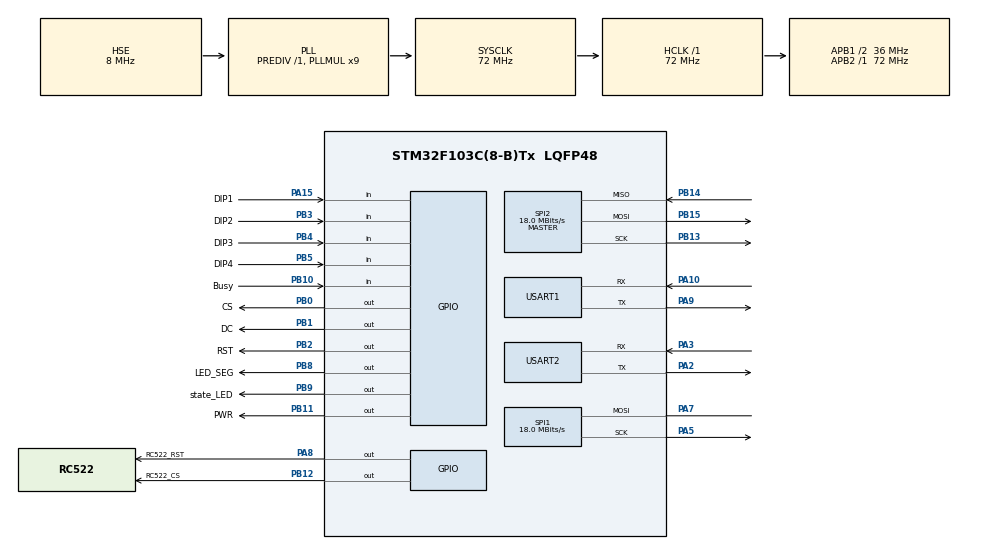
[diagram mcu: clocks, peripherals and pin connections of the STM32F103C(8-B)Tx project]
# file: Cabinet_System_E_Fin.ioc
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FREERTOS.Tasks01=TaskStateLED,-3,128,StartTaskStateLED,Default,NULL,Dynamic,NULL,NULL;TaskInit,2,512,StartTaskInit,Default,NULL,Dynamic,NULL,NULL;TaskWiFi,0,1024,StartTaskWiFi,Default,NULL,Dynamic,NULL,NULL;TaskUart2,-1,1024,StartTaskUart2,Default,NULL,Dynamic,NULL,NULL;TaskLightSingal,-2,128,StartTaskLightSingal,Default,NULL,Dynamic,NULL,NULL
FREERTOS.configTOTAL_HEAP_SIZE=15000
Mcu.Family=STM32F1
Mcu.Name=STM32F103C(8-B)Tx
Mcu.Package=LQFP48
NVIC.PriorityGroup=NVIC_PRIORITYGROUP_4
NVIC.TIM1_UP_IRQn=true\:15\:0\:false\:false\:true\:false\:false\:true\:true
NVIC.TimeBase=TIM1_UP_IRQn
NVIC.TimeBaseIP=TIM1
NVIC.USART1_IRQn=true\:5\:0\:false\:false\:true\:true\:true\:true\:true
NVIC.USART2_IRQn=true\:5\:0\:false\:false\:true\:true\:true\:true\:true
PA10.Mode=Asynchronous
PA10.Signal=USART1_RX
PA13.Mode=Serial_Wire
PA13.Signal=SYS_JTMS-SWDIO
PA14.Mode=Serial_Wire
PA14.Signal=SYS_JTCK-SWCLK
PA15.GPIO_Label=DIP1
PA15.Signal=GPIO_Input
PA2.Mode=Asynchronous
PA2.Signal=USART2_TX
PA3.Mode=Asynchronous
PA3.Signal=USART2_RX
PA5.Mode=Simplex_Bidirectional_Master
PA5.Signal=SPI1_SCK
PA7.Mode=Simplex_Bidirectional_Master
PA7.Signal=SPI1_MOSI
PA8.GPIO_Label=RC522_RST
PA8.PinState=GPIO_PIN_SET
PA8.Signal=GPIO_Output
PA9.Mode=Asynchronous
PA9.Signal=USART1_TX
PB0.GPIO_Label=CS
PB0.Signal=GPIO_Output
PB1.GPIO_Label=DC
PB1.Signal=GPIO_Output
PB10.GPIO_Label=Busy
PB10.Signal=GPIO_Input
PB11.GPIO_Label=PWR
PB11.Signal=GPIO_Output
PB12.GPIO_Label=RC522_CS
PB12.PinState=GPIO_PIN_SET
PB12.Signal=GPIO_Output
PB13.Mode=Full_Duplex_Master
PB13.Signal=SPI2_SCK
PB14.Mode=Full_Duplex_Master
PB14.Signal=SPI2_MISO
PB15.Mode=Full_Duplex_Master
PB15.Signal=SPI2_MOSI
PB2.GPIO_Label=RST
PB2.Signal=GPIO_Output
PB3.GPIO_Label=DIP2
PB3.Signal=GPIO_Input
PB4.GPIO_Label=DIP3
PB4.Signal=GPIO_Input
PB5.GPIO_Label=DIP4
PB5.Signal=GPIO_Input
PB8.GPIO_Label=LED_SEG
PB8.Signal=GPIO_Output
PB9.GPIO_Label=state_LED
PB9.Signal=GPIO_Output
PC14-OSC32_IN.Mode=LSE-External-Oscillator
PC14-OSC32_IN.Signal=RCC_OSC32_IN
PC15-OSC32_OUT.Mode=LSE-External-Oscillator
PC15-OSC32_OUT.Signal=RCC_OSC32_OUT
PD0-OSC_IN.Mode=HSE-External-Oscillator
PD0-OSC_IN.Signal=RCC_OSC_IN
PD1-OSC_OUT.Mode=HSE-External-Oscillator
PD1-OSC_OUT.Signal=RCC_OSC_OUT
ProjectManager.HeapSize=0x200
ProjectManager.StackSize=0x400
ProjectManager.TargetToolchain=MDK-ARM V5
RCC.AHBFreq_Value=72000000
RCC.APB1CLKDivider=RCC_HCLK_DIV2
RCC.APB1Freq_Value=36000000
RCC.APB1TimFreq_Value=72000000
RCC.APB2Freq_Value=72000000
RCC.APB2TimFreq_Value=72000000
RCC.HCLKFreq_Value=72000000
RCC.PLLMUL=RCC_PLL_MUL9
RCC.PLLSourceVirtual=RCC_PLLSOURCE_HSE
RCC.SYSCLKFreq_VALUE=72000000
RCC.SYSCLKSource=RCC_SYSCLKSOURCE_PLLCLK
RCC.USBFreq_Value=72000000
SPI1.BaudRatePrescaler=SPI_BAUDRATEPRESCALER_4
SPI1.CalculateBaudRate=18.0 MBits/s
SPI1.Direction=SPI_DIRECTION_1LINE
SPI1.Mode=SPI_MODE_MASTER
SPI1.VirtualType=VM_MASTER
SPI2.CalculateBaudRate=18.0 MBits/s
SPI2.Direction=SPI_DIRECTION_2LINES
SPI2.Mode=SPI_MODE_MASTER
SPI2.VirtualType=VM_MASTER
USART1.VirtualMode=VM_ASYNC
USART2.VirtualMode=VM_ASYNC
VP_FREERTOS_VS_CMSIS_V1.Mode=CMSIS_V1
VP_SYS_VS_tim1.Mode=TIM1
board=custom

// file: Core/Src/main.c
/* USER CODE BEGIN Header */
/**
  ******************************************************************************
  * @file           : main.c
  * @brief          : Main program body
  ******************************************************************************
  * @attention
  *
  * Copyright (c) 2024 STMicroelectronics.
  * All rights reserved.
  *
  * This software is licensed under terms that can be found in the LICENSE file
  * in the root directory of this software component.
  * If no LICENSE file comes with this software, it is provided AS-IS.
  *
  ******************************************************************************
  */
/* USER CODE END Header */
#include "main.h"
#include "cmsis_os.h"
#include "spi.h"
#include "usart.h"
#include "gpio.h"

void SystemClock_Config(void);
void MX_FREERTOS_Init(void);

int main(void)
{

  /* MCU Configuration--------------------------------------------------------*/

  /* Reset of all peripherals, Initializes the Flash interface and the Systick. */
  HAL_Init();

  /* Configure the system clock */
  SystemClock_Config();

  /* Initialize all configured peripherals */
  MX_GPIO_Init();
  MX_SPI1_Init();
  MX_SPI2_Init();
  MX_USART1_UART_Init();
  MX_USART2_UART_Init();

  /* Call init function for freertos objects (in freertos.c) */
  MX_FREERTOS_Init();

  /* Start scheduler */
  osKernelStart();
  /* We should never get here as control is now taken by the scheduler */
  /* Infinite loop */
  while (1)
  {

  }
}

void SystemClock_Config(void)
{
  RCC_OscInitTypeDef RCC_OscInitStruct = {0};
  RCC_ClkInitTypeDef RCC_ClkInitStruct = {0};

  /** Initializes the RCC Oscillators according to the specified parameters
  * in the RCC_OscInitTypeDef structure.
  */
  RCC_OscInitStruct.OscillatorType = RCC_OSCILLATORTYPE_HSE;
  RCC_OscInitStruct.HSEState = RCC_HSE_ON;
  RCC_OscInitStruct.HSEPredivValue = RCC_HSE_PREDIV_DIV1;
  RCC_OscInitStruct.HSIState = RCC_HSI_ON;
  RCC_OscInitStruct.PLL.PLLState = RCC_PLL_ON;
  RCC_OscInitStruct.PLL.PLLSource = RCC_PLLSOURCE_HSE;
  RCC_OscInitStruct.PLL.PLLMUL = RCC_PLL_MUL9;
  if (HAL_RCC_OscConfig(&RCC_OscInitStruct) != HAL_OK)
  {
    Error_Handler();
  }

  /** Initializes the CPU, AHB and APB buses clocks
  */
  RCC_ClkInitStruct.ClockType = RCC_CLOCKTYPE_HCLK|RCC_CLOCKTYPE_SYSCLK
                              |RCC_CLOCKTYPE_PCLK1|RCC_CLOCKTYPE_PCLK2;
  RCC_ClkInitStruct.SYSCLKSource = RCC_SYSCLKSOURCE_PLLCLK;
  RCC_ClkInitStruct.AHBCLKDivider = RCC_SYSCLK_DIV1;
  RCC_ClkInitStruct.APB1CLKDivider = RCC_HCLK_DIV2;
  RCC_ClkInitStruct.APB2CLKDivider = RCC_HCLK_DIV1;

  if (HAL_RCC_ClockConfig(&RCC_ClkInitStruct, FLASH_LATENCY_2) != HAL_OK)
  {
    Error_Handler();
  }
}

void HAL_TIM_PeriodElapsedCallback(TIM_HandleTypeDef *htim)
{
  if (htim->Instance == TIM1) {
    HAL_IncTick();
  }
}

void Error_Handler(void)
{
  __disable_irq();
  while (1)
  {
  }
}

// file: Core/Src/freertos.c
/* USER CODE BEGIN Header */
/**
  ******************************************************************************
  * File Name          : freertos.c
  * Description        : Code for freertos applications
  ******************************************************************************
  * @attention
  *
  * Copyright (c) 2024 STMicroelectronics.
  * All rights reserved.
  *
  * This software is licensed under terms that can be found in the LICENSE file
  * in the root directory of this software component.
  * If no LICENSE file comes with this software, it is provided AS-IS.
  *
  ******************************************************************************
  */
/* USER CODE END Header */

#include "FreeRTOS.h"
#include "task.h"
#include "main.h"
#include "cmsis_os.h"

/* USER CODE BEGIN Includes */
#include "main.h"
#include <stdio.h>
#include <stdlib.h>
#include "usart.h"
#include "gpio.h"
#include "string.h"

#include "epaper.h"
#include "RC522.h"

/* USER CODE END Includes */

/* USER CODE BEGIN Variables */

/*------------------------------------------------------------------------------
UART1 : ESP-12s

		ESP-12s SET :
			Baud -> 115200
			Wi-Fi mode -> station mode
			IP mode -> DHCP
			Server IP -> 140.130.4.49:8764 (gjt)
								-> 192.168.1.31:8124 (jian)

UART2 : Barcode

		Barcode SET :
			Baud -> 115200

------------------------------------------------------------------------------*/

uint8_t data1;
uint8_t buffer1[128];
int data_len1 = 0;

uint8_t data2;
uint8_t buffer2[128];
int data_len2 = 0;

char Data_Temp[20] = "\0";
int turn_LEN = 0;

char ESP_Temp[128] = "\0";
int ESP_LEN = 0;

/*==========Wi-Fi setting==========*/
char *ESP12_SetIPR = "AT+IPR=115200\r\n";
char *ESP12_CloseTCP = "AT+CIPCLOSE\r\n";
char *ESP12_CloseWiFi = "AT+CWQAP\r\n";
char *ESP12_WiFiMode = "AT+CWMODE=1\r\n";
char *ESP12_Connected = "AT+CWJAP=\"usb_lab_2.4G\",\"usblabwifi\"\r\n";
char *ESP12_Maskset = "AT+CIPSTA=\"192.168.1.22\",\"192.168.1.1\",\"255.255.255.0\"\r\n";
char *ESP12_DHCPSet = "AT+CWDHCP=1,1\r\n";
char *ESP12_TCPConnect = "AT+CIPSTART=\"TCP\",\"192.168.1.27\",8764\r\n";
char *ESP12_TransimitMode = "AT+CIPMODE=0\r\n";

char *ESP12_Transimit_first_connect = "AT+CIPSEND=9\r\n";
char *ESP12_Transimit_first_data = "02E";

char ESP12_marge_data[256];

/*------------------ Message for communication ------------------*/
/*------------------ Format : 03E:barcode:RFID- ------------------*/
char message_Start[5] = "03E:";
char message_conjunction[1] = ":";
char message_End[1] = "-";

char message_CRLF[2] = "\r\n";

/*==========Epaper==========*/
char epaper_dis[100];

/*==========Light singal==========*/
int Cabinet_light_flag = 0;

/*==========DIP SW setting==========*/
char DIP_message[7];

int DIP_Pin_state1 = 0;
int DIP_Pin_state2 = 0;
int DIP_Pin_state3 = 0;
int DIP_Pin_state4 = 0;

/* USER CODE END Variables */
osThreadId TaskStateLEDHandle;
osThreadId TaskInitHandle;
osThreadId TaskWiFiHandle;
osThreadId TaskUart2Handle;
osThreadId TaskLightSingalHandle;

/* USER CODE BEGIN FunctionPrototypes */
void DIP_read(void);
uint8_t readCard(uint8_t *readUid,void(*funCallBack)(void));
void epaper(char in_str[]);

/* USER CODE END FunctionPrototypes */

void StartTaskStateLED(void const * argument);
void StartTaskInit(void const * argument);
void StartTaskWiFi(void const * argument);
void StartTaskUart2(void const * argument);
void StartTaskLightSingal(void const * argument);

void MX_FREERTOS_Init(void); /* (MISRA C 2004 rule 8.1) */

/* GetIdleTaskMemory prototype (linked to static allocation support) */
void vApplicationGetIdleTaskMemory( StaticTask_t **ppxIdleTaskTCBBuffer, StackType_t **ppxIdleTaskStackBuffer, uint32_t *pulIdleTaskStackSize );

/* USER CODE BEGIN GET_IDLE_TASK_MEMORY */
static StaticTask_t xIdleTaskTCBBuffer;
static StackType_t xIdleStack[configMINIMAL_STACK_SIZE];

void vApplicationGetIdleTaskMemory( StaticTask_t **ppxIdleTaskTCBBuffer, StackType_t **ppxIdleTaskStackBuffer, uint32_t *pulIdleTaskStackSize )
{
  *ppxIdleTaskTCBBuffer = &xIdleTaskTCBBuffer;
  *ppxIdleTaskStackBuffer = &xIdleStack[0];
  *pulIdleTaskStackSize = configMINIMAL_STACK_SIZE;
  /* place for user code */
}
/* USER CODE END GET_IDLE_TASK_MEMORY */

void MX_FREERTOS_Init(void) {

  /* Create the thread(s) */
  /* definition and creation of TaskStateLED */
  osThreadDef(TaskStateLED, StartTaskStateLED, osPriorityIdle, 0, 128);
  TaskStateLEDHandle = osThreadCreate(osThread(TaskStateLED), NULL);

  /* definition and creation of TaskInit */
  osThreadDef(TaskInit, StartTaskInit, osPriorityHigh, 0, 512);
  TaskInitHandle = osThreadCreate(osThread(TaskInit), NULL);

  /* definition and creation of TaskWiFi */
  osThreadDef(TaskWiFi, StartTaskWiFi, osPriorityNormal, 0, 1024);
  TaskWiFiHandle = osThreadCreate(osThread(TaskWiFi), NULL);

  /* definition and creation of TaskUart2 */
  osThreadDef(TaskUart2, StartTaskUart2, osPriorityBelowNormal, 0, 1024);
  TaskUart2Handle = osThreadCreate(osThread(TaskUart2), NULL);

  /* definition and creation of TaskLightSingal */
  osThreadDef(TaskLightSingal, StartTaskLightSingal, osPriorityLow, 0, 128);
  TaskLightSingalHandle = osThreadCreate(osThread(TaskLightSingal), NULL);

  /* USER CODE BEGIN RTOS_THREADS */
  /* add threads, ... */
	vTaskSuspend(TaskWiFiHandle);
	vTaskSuspend(TaskUart2Handle);

  /* USER CODE END RTOS_THREADS */

}

void StartTaskStateLED(void const * argument)
{
  /* USER CODE BEGIN StartTaskStateLED */
  /* Infinite loop */
  for(;;)
  {
//    HAL_GPIO_WritePin(state_LED_GPIO_Port, state_LED_Pin, GPIO_PIN_SET);
//		osDelay(300);
//		HAL_GPIO_WritePin(state_LED_GPIO_Port, state_LED_Pin, GPIO_PIN_RESET);
//		osDelay(300);

		HAL_GPIO_WritePin(LED_SEG_GPIO_Port, LED_SEG_Pin, GPIO_PIN_SET);
		osDelay(300);
		HAL_GPIO_WritePin(LED_SEG_GPIO_Port, LED_SEG_Pin, GPIO_PIN_RESET);
		osDelay(300);

  }
  /* USER CODE END StartTaskStateLED */
}

void StartTaskInit(void const * argument)
{
  /* USER CODE BEGIN StartTaskInit */
	DIP_read();

	HAL_UART_Transmit_IT(&huart1,(uint8_t*)ESP12_SetIPR,strlen(ESP12_SetIPR));
	osDelay(500);

	HAL_UART_Transmit_IT(&huart1,(uint8_t*)ESP12_CloseTCP,strlen(ESP12_CloseTCP));
	osDelay(500);

	HAL_UART_Transmit_IT(&huart1,(uint8_t*)ESP12_CloseWiFi,strlen(ESP12_CloseWiFi));
	osDelay(500);

	HAL_UART_Transmit_IT(&huart1,(uint8_t*)ESP12_WiFiMode,strlen(ESP12_WiFiMode));
	osDelay(500);

	HAL_UART_Transmit_IT(&huart1,(uint8_t*)ESP12_Connected,strlen(ESP12_Connected));
	osDelay(3000);

	HAL_UART_Transmit_IT(&huart1,(uint8_t*)ESP12_DHCPSet,strlen(ESP12_DHCPSet));
	osDelay(500);

	HAL_UART_Transmit_IT(&huart1,(uint8_t*)ESP12_TCPConnect,strlen(ESP12_TCPConnect));
	osDelay(3500);

	HAL_UART_Transmit_IT(&huart1,(uint8_t*)ESP12_TransimitMode,strlen(ESP12_TransimitMode));
	osDelay(500);

	HAL_UART_Transmit_IT(&huart1,(uint8_t*)ESP12_Transimit_first_connect,strlen(ESP12_Transimit_first_connect));
	osDelay(500);

	HAL_UART_Transmit_IT(&huart1, (uint8_t*)ESP12_Transimit_first_data, strlen(ESP12_Transimit_first_data));
	osDelay(100);

	HAL_UART_Transmit_IT(&huart1, (uint8_t*)DIP_message, strlen(DIP_message));
	osDelay(100);

	HAL_UART_Transmit_IT(&huart1, (uint8_t*)message_End, strlen(message_End));
	osDelay(100);

	HAL_UART_Receive_IT(&huart1, &data1, 1);
	HAL_UART_Receive_IT(&huart2, &data2, 1);
	MFRC_Init();
  PCD_Reset();

	vTaskDelete(NULL); // Remove hole Task!!

  /* Infinite loop */
  for(;;)
  {
    osDelay(1);
  }
  /* USER CODE END StartTaskInit */
}

void StartTaskWiFi(void const * argument)
{
  /* USER CODE BEGIN StartTaskWiFi */
  /* Infinite loop */
  for(;;)
  {
		int count1 = 0, count2 = 0, count3 = 0 ,temp = 0, NAME_length = 0, AMOUNT_length = 0, mes_length = 0;

		char message[20] = "\0";
		char NAME[25] = "\0";
		char AMOUNT[25] = "\0";

		if(ESP_LEN > 20)
		{
			if(strstr(ESP_Temp, "IPD"))
			{
				while(1) // find first $
				{
					if(ESP_Temp[count1++] == '$') break;
				}

				while(1) // find second $
				{
					if(ESP_Temp[count3++] == '$')
					{
						temp++;
					}

					if(temp == 2) break;
				}

				while(1) // find End -
				{
					if(ESP_Temp[count2++] == '-') break;
				}

				for(int i = count1; i < count3 - 1; i++)
				{
						NAME[NAME_length++] = ESP_Temp[i];
				}

				for(int i = count3; i < count2 - 1; i++)
				{
						AMOUNT[AMOUNT_length++] = ESP_Temp[i];
				}

				strncat(epaper_dis, "\n\n", 2);
				strncat(epaper_dis, NAME, NAME_length);
				strncat(epaper_dis, "\n\n\n", 3);
				strncat(epaper_dis, AMOUNT, AMOUNT_length);

				HAL_UART_Transmit_IT(&huart1, (uint8_t*)epaper_dis, strlen(epaper_dis));
				osDelay(100);

				epaper(epaper_dis);
			}
		}
		else
		{
			if(strstr(ESP_Temp, "IPD"))
			{
				while(1) // find first $
				{
					if(ESP_Temp[count1++] == '$') break;
				}

				while(1) // find END
				{
					if(ESP_Temp[count2++] == '-') break;
				}

				for(int i = count1; i < count2 - 1; i++)
				{
						message[mes_length++] = ESP_Temp[i];
				}
			}

			if(strstr(message, "LEDON"))
			{
//				HAL_UART_Transmit_IT(&huart2, (uint8_t*)"LEDON", 5);
//				osDelay(100);

				Cabinet_light_flag = 1;
			}
			else if(strstr(message, "LEDOF"))
			{
//				HAL_UART_Transmit_IT(&huart2, (uint8_t*)"LEDOF", 5);
//				osDelay(100);

				Cabinet_light_flag = 0;
			}
		}

		memset(ESP_Temp, '\0', ESP_LEN);
		ESP_LEN = 0;

		vTaskSuspend(TaskWiFiHandle);
  }
  /* USER CODE END StartTaskWiFi */
}

void StartTaskUart2(void const * argument)
{
  /* USER CODE BEGIN StartTaskUart2 */
  /* Infinite loop */
  for(;;)
  {
//		HAL_UART_Transmit_IT(&huart1,(uint8_t*)"Do TaskUart2\n", 13);
//		osDelay(100);

		char message_Len[20] = "AT+CIPSEND=";
		char SEND_LEN[5] = "\0";
		int Full_str_len = 0, mes_Length = 0;

		uint8_t readUid[5];

		char temp[20]={'\0'};
		int ID_Length = 0;

		char message_RFID[20];
		char message_ALL[100];

		if(!readCard(readUid, NULL))
		{
			HAL_UART_Transmit_IT(&huart1,(uint8_t*)"RFID GET\n", 9);
			osDelay(100);

			memset(message_RFID, 0, strlen(message_RFID));
			sprintf(temp, "%d", readUid[0]);
			strncat(message_RFID, temp, strlen(temp));

			memset(temp, 0, strlen(temp));
			sprintf(temp, "%d", readUid[1]);
			strncat(message_RFID, temp, strlen(temp));

			memset(temp, 0, strlen(temp));
			sprintf(temp, "%d", readUid[2]);
			strncat(message_RFID, temp, strlen(temp));

			memset(temp, 0, strlen(temp));
			sprintf(temp, "%d", readUid[3]);
			strncat(message_RFID, temp, strlen(temp));

			ID_Length = strlen(message_RFID);

			memset(temp, 0, strlen(temp));
			memset(readUid, 0, 5);
		}

		mes_Length = turn_LEN;

		strncat(message_ALL, Data_Temp, turn_LEN);

		Full_str_len = 5 + mes_Length + ID_Length;
		sprintf(SEND_LEN, "%d", Full_str_len);

		strncat(message_Len, SEND_LEN, strlen(SEND_LEN));

		//< AT+CIPSEND="message_Len"\r\n
		HAL_UART_Transmit_IT(&huart1,(uint8_t*)message_Len, strlen(message_Len));
		osDelay(200);
		HAL_UART_Transmit_IT(&huart1,(uint8_t*)message_CRLF, strlen(message_CRLF));
		osDelay(200);

		/*------------------------------------ combine hole message ---------------------------------------*/
		strncat(message_ALL, message_conjunction, 1);
		strncat(message_ALL, message_RFID, ID_Length);
		strncat(message_ALL, message_End, 1);
		/*------------------------------------ combine hole message ---------------------------------------*/

		//< 03E:
		HAL_UART_Transmit_IT(&huart1,(uint8_t*)message_Start, strlen(message_Start));
		osDelay(200);

		//< Barcode:RFID-
		HAL_UART_Transmit_IT(&huart1,(uint8_t*)message_ALL, strlen(message_ALL));
		osDelay(200);

		//< \r\n
		HAL_UART_Transmit_IT(&huart1,(uint8_t*)message_CRLF, strlen(message_CRLF));
		osDelay(200);

		memset(message_ALL, '\0', 100);
		memset(message_RFID, '\0', 20);

		memset(Data_Temp, '\0', 20);
		memset(SEND_LEN, '\0', 5);

		turn_LEN = 0;
		Full_str_len = 0;

    //osDelay(100);
		vTaskSuspend(TaskUart2Handle);
  }
  /* USER CODE END StartTaskUart2 */
}

void StartTaskLightSingal(void const * argument)
{
  /* USER CODE BEGIN StartTaskLightSingal */
  /* Infinite loop */
  for(;;)
  {
		osDelay(200);
		switch(Cabinet_light_flag)
		{
			case 0:
				HAL_GPIO_WritePin(LED_SEG_GPIO_Port, LED_SEG_Pin, GPIO_PIN_SET);
				break;

			case 1:
				HAL_GPIO_WritePin(LED_SEG_GPIO_Port, LED_SEG_Pin, GPIO_PIN_RESET);
				break;

		}
  }
  /* USER CODE END StartTaskLightSingal */
}

/* USER CODE BEGIN Application */

void HAL_UART_RxCpltCallback(UART_HandleTypeDef *UartHandle)
{
	/*------------------------- USART1 -------------------------*/
	if(UartHandle->Instance == USART1)
	{
		buffer1[data_len1] = data1;
		data_len1++;

		if(buffer1[data_len1 - 1] == '\n')
		{
			memcpy(ESP_Temp, buffer1, data_len1 - 2);
			ESP_LEN = data_len1 - 2;

			memset(buffer1, '\0', data_len1);
			data_len1 = 0;

			xTaskResumeFromISR(TaskWiFiHandle);
		}

		HAL_UART_Receive_IT(&huart1, &data1, 1);
	}

	/*------------------------- USART2 -------------------------*/
	if(UartHandle->Instance == USART2)
	{
		buffer2[data_len2] = data2;
		data_len2++;

		if(buffer2[data_len2 - 1] == '\n')
		{
			//HAL_UART_Transmit_IT(&huart1, (uint8_t*)"UART2 GET\n", 10);
			//osDelay(100);

			memcpy(Data_Temp, buffer2, data_len2 - 2);
			turn_LEN = data_len2 - 2;

			memset(buffer2, '\0', data_len2);
			data_len2 = 0;

			xTaskResumeFromISR(TaskUart2Handle);

		}

		HAL_UART_Receive_IT(&huart2, &data2, 1);
	}
}

void DIP_read(void)
{
	char DIP_temp[5];
	char temp[10] = {'\0'}; // storage DIP pin state

	if(HAL_GPIO_ReadPin(DIP1_GPIO_Port, DIP1_Pin) == GPIO_PIN_RESET)
	{
		DIP_Pin_state1 = 1;
	}
	else
	{
		DIP_Pin_state1 = 0;
	}

	if(HAL_GPIO_ReadPin(DIP2_GPIO_Port, DIP2_Pin) == GPIO_PIN_RESET)
	{
		DIP_Pin_state2 = 1;
	}
	else
	{
		DIP_Pin_state2 = 0;
	}

	if(HAL_GPIO_ReadPin(DIP3_GPIO_Port, DIP3_Pin) == GPIO_PIN_RESET)
	{
		DIP_Pin_state3 = 1;
	}
	else
	{
		DIP_Pin_state3 = 0;
	}

	if(HAL_GPIO_ReadPin(DIP4_GPIO_Port, DIP4_Pin) == GPIO_PIN_RESET)
	{
		DIP_Pin_state4 = 1;
	}
	else
	{
		DIP_Pin_state4 = 0;
	}

	sprintf(temp, "%d", DIP_Pin_state1);
	strncat(DIP_temp, temp, strlen(temp));
	memset(temp, 0, strlen(temp));

	sprintf(temp, "%d", DIP_Pin_state2);
	strncat(DIP_temp, temp, strlen(temp));
	memset(temp, 0, strlen(temp));

	sprintf(temp, "%d", DIP_Pin_state3);
	strncat(DIP_temp, temp, strlen(temp));
	memset(temp, 0, strlen(temp));

	sprintf(temp, "%d", DIP_Pin_state4);
	strncat(DIP_temp, temp, strlen(temp));
	memset(temp, 0, strlen(temp));

	int DIP_Length = 0;

	DIP_Length = strlen(DIP_temp);
	//All_length = 7 - DIP_Length;

	for(int i = 0; i < 5 - DIP_Length; i++)
	{
		DIP_message[i] = '0';
	}

	strncat(DIP_message, DIP_temp, strlen(DIP_temp));

	DIP_message[0] = 'l';

	//HAL_UART_Transmit_IT(&huart2, (uint8_t*)DIP_message, strlen(DIP_message));
	//osDelay(300);

	memset(temp, 0, strlen(temp));
	HAL_Delay(500);
}

uint8_t readCard(uint8_t *readUid, void(*funCallBack)(void))
{
	uint8_t Temp[5];

	if (PCD_Request(0x52, Temp) == 0)
	{
		if (PCD_Anticoll(readUid) == 0)
		{
			if(funCallBack != NULL)
				funCallBack();

			return 0;
		}
	}

	return 1;
}

void epaper(char in_str[])
{
	EPD_2IN9_V2_Init();
	EPD_2IN9_V2_Clear();
	epaper_resetXY();

	epaper_strdisplay(in_str);

	epaper_refresh();
	EPD_2IN9_V2_Sleep();
}

/* USER CODE END Application */
